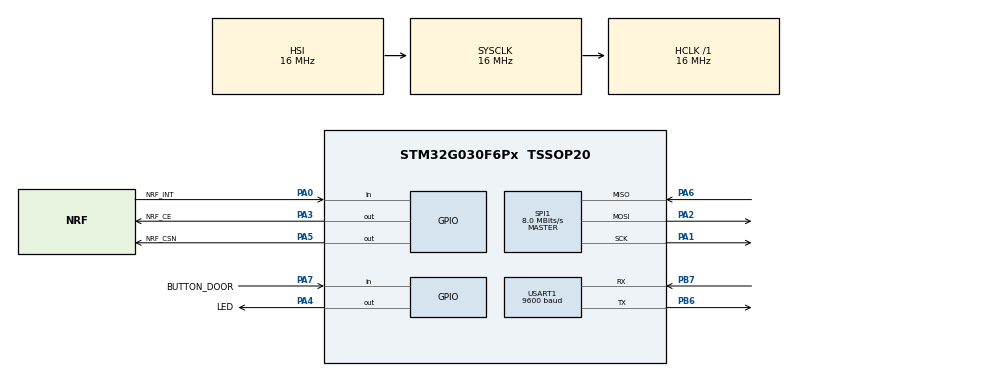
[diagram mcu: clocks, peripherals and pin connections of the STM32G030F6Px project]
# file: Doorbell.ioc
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Mcu.Family=STM32G0
Mcu.Name=STM32G030F6Px
Mcu.Package=TSSOP20
NVIC.TIM3_IRQn=true\:0\:0\:false\:false\:true\:true\:true\:true
NVIC.USART1_IRQn=true\:0\:0\:false\:false\:true\:true\:true\:true
PA0.GPIO_Label=NRF_INT
PA0.Signal=GPIO_Input
PA1.Mode=Full_Duplex_Master
PA1.Signal=SPI1_SCK
PA13.Mode=Serial_Wire
PA13.Signal=SYS_SWDIO
PA14-BOOT0.Mode=Serial_Wire
PA14-BOOT0.Signal=SYS_SWCLK
PA14-BOOT0__PA15.StandardMode=true
PA2.Mode=Full_Duplex_Master
PA2.Signal=SPI1_MOSI
PA3.GPIO_Label=NRF_CE
PA3.Signal=GPIO_Output
PA4.GPIO_Label=LED
PA4.Signal=GPIO_Output
PA5.GPIO_Label=NRF_CSN
PA5.Signal=GPIO_Output
PA6.Mode=Full_Duplex_Master
PA6.Signal=SPI1_MISO
PA7.GPIO_Label=BUTTON_DOOR
PA7.GPIO_PuPd=GPIO_PULLUP
PA7.Signal=GPIO_Input
PB0__PB1__PB2__PA8.StandardMode=true
PB3__PB4__PB5__PB6.StandardMode=true
PB6.Mode=Asynchronous
PB6.Signal=USART1_TX
PB7.Mode=Asynchronous
PB7.Signal=USART1_RX
PB7__PB8.StandardMode=true
PC14-OSC32_IN\ (PC14)__PB9.StandardMode=true
ProjectManager.HeapSize=0x200
ProjectManager.StackSize=0x400
ProjectManager.TargetToolchain=STM32CubeIDE
RCC.AHBFreq_Value=16000000
RCC.CortexFreq_Value=16000000
RCC.EXTERNAL_CLOCK_VALUE=12288000
RCC.HCLKFreq_Value=16000000
RCC.HSE_VALUE=8000000
RCC.HSI_VALUE=16000000
RCC.LSE_VALUE=32768
RCC.SYSCLKFreq_VALUE=16000000
RCC.VCOOutputFreq_Value=128000000
SPI1.CalculateBaudRate=8.0 MBits/s
SPI1.Direction=SPI_DIRECTION_2LINES
SPI1.Mode=SPI_MODE_MASTER
SPI1.VirtualType=VM_MASTER
TIM1.AutoReloadPreload=TIM_AUTORELOAD_PRELOAD_ENABLE
TIM1.CounterMode=TIM_COUNTERMODE_DOWN
TIM1.Period=15999
TIM3.AutoReloadPreload=TIM_AUTORELOAD_PRELOAD_ENABLE
TIM3.CounterMode=TIM_COUNTERMODE_DOWN
TIM3.Period=1000
TIM3.Prescaler=15
USART1.BaudRate=9600
USART1.VirtualMode-Asynchronous=VM_ASYNC
VP_TIM1_VS_ClockSourceITR.Mode=TriggerSource_ITR0
VP_TIM3_VS_ClockSourceINT.Mode=Internal
board=custom

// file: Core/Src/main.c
/* USER CODE BEGIN Header */
/**
  ******************************************************************************
  * @file           : main.c
  * @brief          : Main program body
  ******************************************************************************
  * @attention
  *
  * Copyright (c) 2025 STMicroelectronics.
  * All rights reserved.
  *
  * This software is licensed under terms that can be found in the LICENSE file
  * in the root directory of this software component.
  * If no LICENSE file comes with this software, it is provided AS-IS.
  *
  ******************************************************************************
  */
/* USER CODE END Header */
#include "main.h"

/* USER CODE BEGIN Includes */
//#include "uart.h"
#include "nRF24L01.h"
#include "mp3.h"

/* USER CODE END Includes */

SPI_HandleTypeDef hspi1;

TIM_HandleTypeDef htim1;
TIM_HandleTypeDef htim3;

UART_HandleTypeDef huart1;

/* USER CODE BEGIN PV */
uint16_t one_ms_counter=0;
uint16_t one_min_counter=0;
uint16_t one_day_counter=0;
uint8_t one_ms_flag=0;
/* USER CODE END PV */

void SystemClock_Config(void);
static void MX_GPIO_Init(void);
static void MX_SPI1_Init(void);
static void MX_USART1_UART_Init(void);
static void MX_TIM1_Init(void);
static void MX_TIM3_Init(void);

/* USER CODE BEGIN 0 */
//-----------------------------------------------------------------
//Microsecond delay
void delay_us (uint16_t us)
{	__HAL_TIM_SET_COUNTER(&htim1,0);  				// set the counter value a 0
	while (__HAL_TIM_GET_COUNTER(&htim1) < us);  	// wait for the counter to reach the us input in the parameter
}
/* USER CODE END 0 */

int main(void)
{

  /* MCU Configuration--------------------------------------------------------*/

  /* Reset of all peripherals, Initializes the Flash interface and the Systick. */
  HAL_Init();

  /* Configure the system clock */
  SystemClock_Config();

  /* Initialize all configured peripherals */
  MX_GPIO_Init();
  MX_SPI1_Init();
  MX_USART1_UART_Init();
  MX_TIM1_Init();
  MX_TIM3_Init();
  /* USER CODE BEGIN 2 */

  #define BUTTON_DEADTIME	500

  uint16_t loopcounter=0,buttoncounter=BUTTON_DEADTIME;

  //UARTringbuffer();
  mp3_init();
  mp3_volume(30);
  __HAL_TIM_ENABLE_IT(&htim3, TIM_IT_UPDATE);	//incase the IOC it not genreates its self
  HAL_TIM_Base_Start(&htim3);					//start/enable timer

  /* USER CODE END 2 */

  /* Infinite loop */
  /* USER CODE BEGIN WHILE */
  while (1)
  {

	  one_ms_flag=0;

	if (buttoncounter==BUTTON_DEADTIME)
  	{	//after dead time signal may be read and used
	  if(HAL_GPIO_ReadPin(BUTTON_DOOR_GPIO_Port, BUTTON_DOOR_Pin)==0)
  	  { //button pressed and buttoncounter == SW_DEADTIME then send command

		  buttoncounter=0;					//reset timer
		  mp3_play(4);	  	  	  	  	  	//play sound track4 = file 0005.mp3

  	  }
  	}else
  		buttoncounter++;

  	loopcounter++;
  	if (loopcounter==2000)
	  {		HAL_GPIO_WritePin(LED_GPIO_Port, LED_Pin, GPIO_PIN_SET);			//turn off LED (inverted)
		  loopcounter=0;
	  }

	  if (loopcounter==1900)
	  {		HAL_GPIO_WritePin(LED_GPIO_Port, LED_Pin, GPIO_PIN_RESET);			//turn on LED (inverted)
	  }

	  while(one_ms_flag==0);	//wait till Timer interrupt is fired and released the flag

    /* USER CODE END WHILE */

  }
}

void SystemClock_Config(void)
{
  RCC_OscInitTypeDef RCC_OscInitStruct = {0};
  RCC_ClkInitTypeDef RCC_ClkInitStruct = {0};

  /** Configure the main internal regulator output voltage
  */
  HAL_PWREx_ControlVoltageScaling(PWR_REGULATOR_VOLTAGE_SCALE1);

  /** Initializes the RCC Oscillators according to the specified parameters
  * in the RCC_OscInitTypeDef structure.
  */
  RCC_OscInitStruct.OscillatorType = RCC_OSCILLATORTYPE_HSI;
  RCC_OscInitStruct.HSIState = RCC_HSI_ON;
  RCC_OscInitStruct.HSIDiv = RCC_HSI_DIV1;
  RCC_OscInitStruct.HSICalibrationValue = RCC_HSICALIBRATION_DEFAULT;
  RCC_OscInitStruct.PLL.PLLState = RCC_PLL_NONE;
  if (HAL_RCC_OscConfig(&RCC_OscInitStruct) != HAL_OK)
  {
    Error_Handler();
  }

  /** Initializes the CPU, AHB and APB buses clocks
  */
  RCC_ClkInitStruct.ClockType = RCC_CLOCKTYPE_HCLK|RCC_CLOCKTYPE_SYSCLK
                              |RCC_CLOCKTYPE_PCLK1;
  RCC_ClkInitStruct.SYSCLKSource = RCC_SYSCLKSOURCE_HSI;
  RCC_ClkInitStruct.AHBCLKDivider = RCC_SYSCLK_DIV1;
  RCC_ClkInitStruct.APB1CLKDivider = RCC_HCLK_DIV1;

  if (HAL_RCC_ClockConfig(&RCC_ClkInitStruct, FLASH_LATENCY_0) != HAL_OK)
  {
    Error_Handler();
  }
}

static void MX_SPI1_Init(void)
{

  /* SPI1 parameter configuration*/
  hspi1.Instance = SPI1;
  hspi1.Init.Mode = SPI_MODE_MASTER;
  hspi1.Init.Direction = SPI_DIRECTION_2LINES;
  hspi1.Init.DataSize = SPI_DATASIZE_8BIT;
  hspi1.Init.CLKPolarity = SPI_POLARITY_LOW;
  hspi1.Init.CLKPhase = SPI_PHASE_1EDGE;
  hspi1.Init.NSS = SPI_NSS_SOFT;
  hspi1.Init.BaudRatePrescaler = SPI_BAUDRATEPRESCALER_2;
  hspi1.Init.FirstBit = SPI_FIRSTBIT_MSB;
  hspi1.Init.TIMode = SPI_TIMODE_DISABLE;
  hspi1.Init.CRCCalculation = SPI_CRCCALCULATION_DISABLE;
  hspi1.Init.CRCPolynomial = 7;
  hspi1.Init.CRCLength = SPI_CRC_LENGTH_DATASIZE;
  hspi1.Init.NSSPMode = SPI_NSS_PULSE_ENABLE;
  if (HAL_SPI_Init(&hspi1) != HAL_OK)
  {
    Error_Handler();
  }

}

static void MX_TIM1_Init(void)
{

  TIM_SlaveConfigTypeDef sSlaveConfig = {0};
  TIM_MasterConfigTypeDef sMasterConfig = {0};

  htim1.Instance = TIM1;
  htim1.Init.Prescaler = 0;
  htim1.Init.CounterMode = TIM_COUNTERMODE_DOWN;
  htim1.Init.Period = 15999;
  htim1.Init.ClockDivision = TIM_CLOCKDIVISION_DIV1;
  htim1.Init.RepetitionCounter = 0;
  htim1.Init.AutoReloadPreload = TIM_AUTORELOAD_PRELOAD_ENABLE;
  if (HAL_TIM_Base_Init(&htim1) != HAL_OK)
  {
    Error_Handler();
  }
  sSlaveConfig.SlaveMode = TIM_SLAVEMODE_DISABLE;
  sSlaveConfig.InputTrigger = TIM_TS_ITR0;
  if (HAL_TIM_SlaveConfigSynchro(&htim1, &sSlaveConfig) != HAL_OK)
  {
    Error_Handler();
  }
  sMasterConfig.MasterOutputTrigger = TIM_TRGO_RESET;
  sMasterConfig.MasterOutputTrigger2 = TIM_TRGO2_RESET;
  sMasterConfig.MasterSlaveMode = TIM_MASTERSLAVEMODE_DISABLE;
  if (HAL_TIMEx_MasterConfigSynchronization(&htim1, &sMasterConfig) != HAL_OK)
  {
    Error_Handler();
  }

}

static void MX_TIM3_Init(void)
{

  TIM_ClockConfigTypeDef sClockSourceConfig = {0};
  TIM_MasterConfigTypeDef sMasterConfig = {0};

  htim3.Instance = TIM3;
  htim3.Init.Prescaler = 15;
  htim3.Init.CounterMode = TIM_COUNTERMODE_DOWN;
  htim3.Init.Period = 1000;
  htim3.Init.ClockDivision = TIM_CLOCKDIVISION_DIV1;
  htim3.Init.AutoReloadPreload = TIM_AUTORELOAD_PRELOAD_ENABLE;
  if (HAL_TIM_Base_Init(&htim3) != HAL_OK)
  {
    Error_Handler();
  }
  sClockSourceConfig.ClockSource = TIM_CLOCKSOURCE_INTERNAL;
  if (HAL_TIM_ConfigClockSource(&htim3, &sClockSourceConfig) != HAL_OK)
  {
    Error_Handler();
  }
  sMasterConfig.MasterOutputTrigger = TIM_TRGO_RESET;
  sMasterConfig.MasterSlaveMode = TIM_MASTERSLAVEMODE_DISABLE;
  if (HAL_TIMEx_MasterConfigSynchronization(&htim3, &sMasterConfig) != HAL_OK)
  {
    Error_Handler();
  }

}

static void MX_USART1_UART_Init(void)
{

  huart1.Instance = USART1;
  huart1.Init.BaudRate = 9600;
  huart1.Init.WordLength = UART_WORDLENGTH_8B;
  huart1.Init.StopBits = UART_STOPBITS_1;
  huart1.Init.Parity = UART_PARITY_NONE;
  huart1.Init.Mode = UART_MODE_TX_RX;
  huart1.Init.HwFlowCtl = UART_HWCONTROL_NONE;
  huart1.Init.OverSampling = UART_OVERSAMPLING_16;
  huart1.Init.OneBitSampling = UART_ONE_BIT_SAMPLE_DISABLE;
  huart1.Init.ClockPrescaler = UART_PRESCALER_DIV1;
  huart1.AdvancedInit.AdvFeatureInit = UART_ADVFEATURE_NO_INIT;
  if (HAL_UART_Init(&huart1) != HAL_OK)
  {
    Error_Handler();
  }
  if (HAL_UARTEx_SetTxFifoThreshold(&huart1, UART_TXFIFO_THRESHOLD_1_8) != HAL_OK)
  {
    Error_Handler();
  }
  if (HAL_UARTEx_SetRxFifoThreshold(&huart1, UART_RXFIFO_THRESHOLD_1_8) != HAL_OK)
  {
    Error_Handler();
  }
  if (HAL_UARTEx_DisableFifoMode(&huart1) != HAL_OK)
  {
    Error_Handler();
  }

}

static void MX_GPIO_Init(void)
{
  GPIO_InitTypeDef GPIO_InitStruct = {0};

  /* GPIO Ports Clock Enable */
  __HAL_RCC_GPIOB_CLK_ENABLE();
  __HAL_RCC_GPIOA_CLK_ENABLE();

  /*Configure GPIO pin Output Level */
  HAL_GPIO_WritePin(GPIOA, NRF_CE_Pin|LED_Pin|NRF_CSN_Pin, GPIO_PIN_RESET);

  /*Configure GPIO pin : NRF_INT_Pin */
  GPIO_InitStruct.Pin = NRF_INT_Pin;
  GPIO_InitStruct.Mode = GPIO_MODE_INPUT;
  GPIO_InitStruct.Pull = GPIO_NOPULL;
  HAL_GPIO_Init(NRF_INT_GPIO_Port, &GPIO_InitStruct);

  /*Configure GPIO pins : NRF_CE_Pin LED_Pin NRF_CSN_Pin */
  GPIO_InitStruct.Pin = NRF_CE_Pin|LED_Pin|NRF_CSN_Pin;
  GPIO_InitStruct.Mode = GPIO_MODE_OUTPUT_PP;
  GPIO_InitStruct.Pull = GPIO_NOPULL;
  GPIO_InitStruct.Speed = GPIO_SPEED_FREQ_LOW;
  HAL_GPIO_Init(GPIOA, &GPIO_InitStruct);

  /*Configure GPIO pin : BUTTON_DOOR_Pin */
  GPIO_InitStruct.Pin = BUTTON_DOOR_Pin;
  GPIO_InitStruct.Mode = GPIO_MODE_INPUT;
  GPIO_InitStruct.Pull = GPIO_PULLUP;
  HAL_GPIO_Init(BUTTON_DOOR_GPIO_Port, &GPIO_InitStruct);

}

void Error_Handler(void)
{
  __disable_irq();
  while (1)
  {
  }
}
